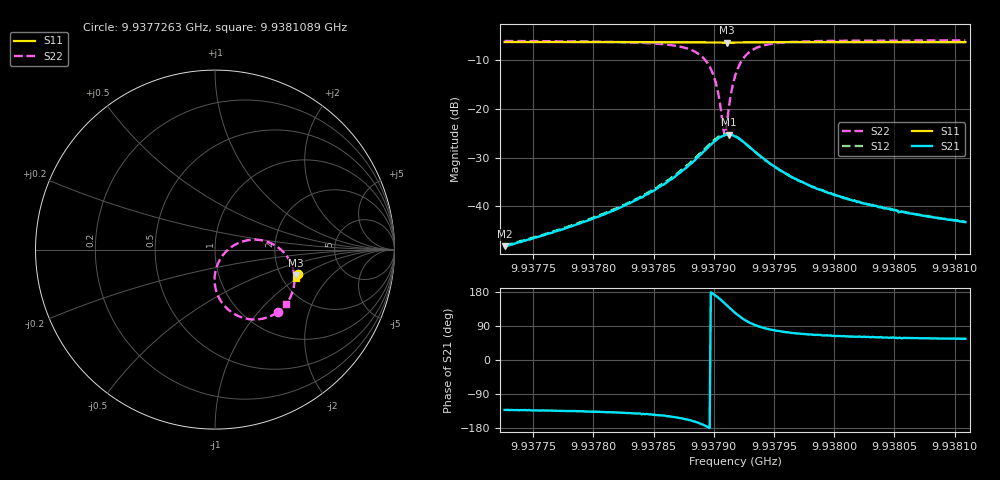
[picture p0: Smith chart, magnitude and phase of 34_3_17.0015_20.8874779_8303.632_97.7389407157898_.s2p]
#  HZ  S  RI  R  50.00
! Rohde & Schwarz Vector Network Analyzer
! Rohde-Schwarz,ZNB20-2Port,1311601062101988,3.16
! Created: UTC 3/20/2024, 10:53:37 PM
! freq[Hz]  re:S11  im:S11  re:S21  im:S21  re:S12  im:S12  re:S22  im:S22
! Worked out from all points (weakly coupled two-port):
!   401 points, 9.9377263 GHz to 9.9381089 GHz, reference 50 ohm
!   highest |S21| = -25.30 dB at 9.9379128 GHz (marker M1); lowest = -48.1 dB at 9.9377263 GHz (marker M2)
!   lowest |S11| = -6.5 dB at 9.9379109 GHz (marker M3), VSWR 2.80, Z = 121 - j44.6 ohm
!   |S11| at or under -10 dB: nowhere
!   |S22| runs from -25.4 to -6.0 dB; largest |S21 - S12| = 0.0042
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9.93772634e9  0.4624 -0.1339  -0.00261 -0.00293  -0.00267 -0.00293  0.35 -0.3473
9.93779041e9  0.4606 -0.1386  -0.00485 -0.0048  -0.00507 -0.00479  0.3262 -0.3622
9.93782675e9  0.4595 -0.1411  -0.00787 -0.00667  -0.0082 -0.00671  0.297 -0.3755
9.93785449e9  0.4583 -0.1434  -0.013 -0.00883  -0.0136 -0.00889  0.2503 -0.3872
9.93787839e9  0.4564 -0.1454  -0.0237 -0.00987  -0.0251 -0.0096  0.1574 -0.3803
9.93789178e9  0.4545 -0.1461  -0.0362 -0.00525  -0.0381 -0.00405  0.0595 -0.3207
9.93789752e9  0.4534 -0.1457  -0.0428 0.00117  -0.0448 0.00341  0.0156 -0.2544
9.93790135e9  0.4527 -0.1451  -0.0464 0.00779  -0.048 0.011  -0.00119 -0.19
9.93790421e9  0.4525 -0.1446  -0.048 0.0144  -0.0489 0.018  0.000539 -0.1324
9.93790804e9  0.4521 -0.1437  -0.0472 0.0244  -0.0468 0.0284  0.0289 -0.0534
9.937909e9  0.4522 -0.1435  -0.0464 0.0269  -0.0457 0.031  0.0415 -0.0342
9.93791091e9  0.4523 -0.143  -0.0441 0.0318  -0.0425 0.0355  0.0713 -0.00153
9.93791282e9  0.4524 -0.1426  -0.0407 0.036  -0.0386 0.0396  0.1071 0.0248
9.93791473e9  0.453 -0.1422  -0.0368 0.0394  -0.0342 0.0426  0.1464 0.0427
9.9379176e9  0.4534 -0.1418  -0.0296 0.0429  -0.027 0.0451  0.2076 0.0551
9.9379243e9  0.4551 -0.1418  -0.0147 0.0438  -0.012 0.0444  0.3235 0.03
9.93793482e9  0.4568 -0.1431  -0.00107 0.0359  0.000583 0.0356  0.4127 -0.0557
9.9379549e9  0.4573 -0.1459  0.00571 0.0227  0.00653 0.0225  0.4425 -0.167
9.93798168e9  0.4568 -0.1483  0.00627 0.0147  0.00652 0.0145  0.4332 -0.232
9.93800941e9  0.456 -0.1507  0.00562 0.0107  0.00579 0.0107  0.4209 -0.2633
9.93804575e9  0.4551 -0.1533  0.00491 0.00808  0.00499 0.00806  0.4091 -0.2852
9.93810887e9  0.4534 -0.1574  0.00387 0.00572  0.00403 0.00575  0.3956 -0.3049
